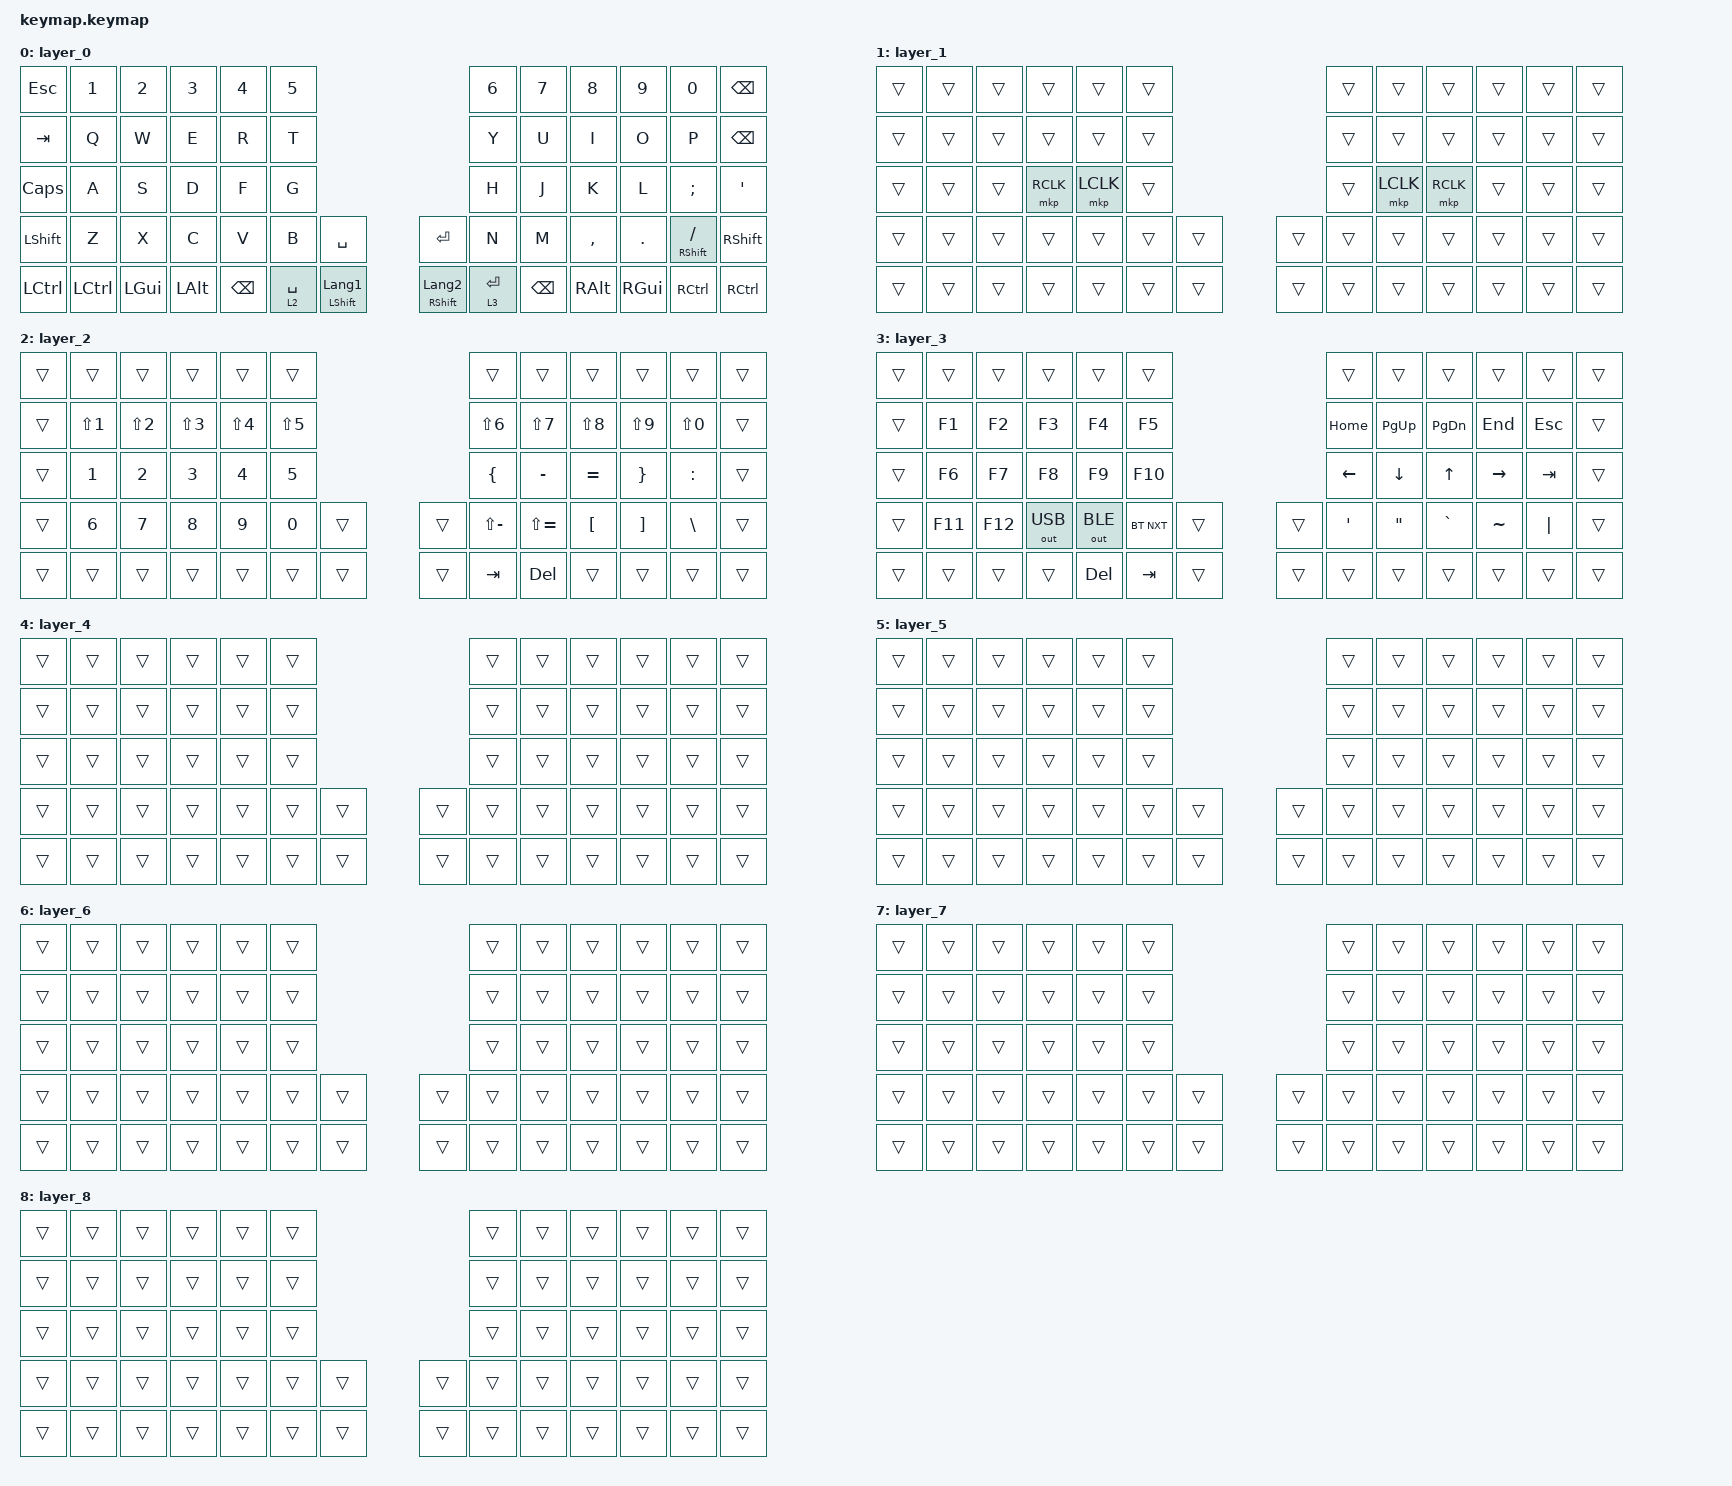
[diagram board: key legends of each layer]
#include <behaviors.dtsi>
#include <dt-bindings/zmk/bt.h>
#include <dt-bindings/zmk/keys.h>
#include <dt-bindings/zmk/outputs.h>
#include <dt-bindings/zmk/pointing.h>

/ {
    combos {
        compatible = "zmk,combos";

        bt_clear {
            bindings = <&bt BT_CLR>;
            key-positions = <28 29>;
            layers = <2>;
        };
    };

    keymap {
        compatible = "zmk,keymap";

        layer_0 {
            bindings = <
&kp ESC    &kp N1     &kp N2    &kp N3    &kp N4    &kp N5                                                         &kp N6       &kp N7    &kp N8     &kp N9    &kp N0                &kp BSPC
&kp TAB    &kp Q      &kp W     &kp E     &kp R     &kp T                                                          &kp Y        &kp U     &kp I      &kp O     &kp P                 &kp BSPC
&kp CAPS   &kp A      &kp S     &kp D     &kp F     &kp G                                                          &kp H        &kp J     &kp K      &kp L     &kp SEMI              &kp SQT
&kp LSHFT  &kp Z      &kp X     &kp C     &kp V     &kp B        &kp SPACE                  &kp RET                &kp N        &kp M     &kp COMMA  &kp DOT   &mt RIGHT_SHIFT FSLH  &kp RSHFT
&kp LCTRL  &kp LCTRL  &kp LGUI  &kp LALT  &kp BSPC  &lt 2 SPACE  &mt LEFT_SHIFT LANGUAGE_1  &mt RSHIFT LANGUAGE_2  &lt 3 ENTER  &kp BSPC  &kp RALT   &kp RGUI  &kp RCTRL             &kp RCTRL
            >;
        };

        layer_1 {
            bindings = <
&trans  &trans  &trans  &trans     &trans     &trans                  &trans  &trans     &trans     &trans  &trans  &trans
&trans  &trans  &trans  &trans     &trans     &trans                  &trans  &trans     &trans     &trans  &trans  &trans
&trans  &trans  &trans  &mkp RCLK  &mkp LCLK  &trans                  &trans  &mkp LCLK  &mkp RCLK  &trans  &trans  &trans
&trans  &trans  &trans  &trans     &trans     &trans  &trans  &trans  &trans  &trans     &trans     &trans  &trans  &trans
&trans  &trans  &trans  &trans     &trans     &trans  &trans  &trans  &trans  &trans     &trans     &trans  &trans  &trans
            >;
        };

        layer_2 {
            bindings = <
&trans  &trans            &trans            &trans      &trans      &trans                      &trans          &trans         &trans            &trans             &trans         &trans
&trans  &kp LS(NUMBER_1)  &kp LS(NUMBER_2)  &kp LS(N3)  &kp LS(N4)  &kp LS(N5)                  &kp LS(N6)      &kp LS(N7)     &kp LS(N8)        &kp LS(N9)         &kp LS(N0)     &trans
&trans  &kp N1            &kp N2            &kp N3      &kp N4      &kp N5                      &kp LEFT_BRACE  &kp MINUS      &kp EQUAL         &kp RIGHT_BRACE    &kp COLON      &trans
&trans  &kp N6            &kp N7            &kp N8      &kp N9      &kp N0      &trans  &trans  &kp LS(MINUS)   &kp LS(EQUAL)  &kp LEFT_BRACKET  &kp RIGHT_BRACKET  &kp BACKSLASH  &trans
&trans  &trans            &trans            &trans      &trans      &trans      &trans  &trans  &kp TAB         &kp DEL        &trans            &trans             &trans         &trans
            >;
        };

        layer_3 {
            bindings = <
&trans  &trans   &trans   &trans        &trans        &trans                      &trans            &trans     &trans         &trans     &trans      &trans
&trans  &kp F1   &kp F2   &kp F3        &kp F4        &kp F5                      &kp HOME          &kp PG_UP  &kp PAGE_DOWN  &kp END    &kp ESCAPE  &trans
&trans  &kp F6   &kp F7   &kp F8        &kp F9        &kp F10                     &kp LEFT          &kp DOWN   &kp UP_ARROW   &kp RIGHT  &kp TAB     &trans
&trans  &kp F11  &kp F12  &out OUT_USB  &out OUT_BLE  &bt BT_NXT  &trans  &trans  &kp SINGLE_QUOTE  &kp DQT    &kp GRAVE      &kp TILDE  &kp PIPE    &trans
&trans  &trans   &trans   &trans        &kp DELETE    &kp TAB     &trans  &trans  &trans            &trans     &trans         &trans     &trans      &trans
            >;
        };

        layer_4 {
            bindings = <
&trans  &trans  &trans  &trans  &trans  &trans                  &trans  &trans  &trans  &trans  &trans  &trans
&trans  &trans  &trans  &trans  &trans  &trans                  &trans  &trans  &trans  &trans  &trans  &trans
&trans  &trans  &trans  &trans  &trans  &trans                  &trans  &trans  &trans  &trans  &trans  &trans
&trans  &trans  &trans  &trans  &trans  &trans  &trans  &trans  &trans  &trans  &trans  &trans  &trans  &trans
&trans  &trans  &trans  &trans  &trans  &trans  &trans  &trans  &trans  &trans  &trans  &trans  &trans  &trans
            >;
        };

        layer_5 {
            bindings = <
&trans  &trans  &trans  &trans  &trans  &trans                  &trans  &trans  &trans  &trans  &trans  &trans
&trans  &trans  &trans  &trans  &trans  &trans                  &trans  &trans  &trans  &trans  &trans  &trans
&trans  &trans  &trans  &trans  &trans  &trans                  &trans  &trans  &trans  &trans  &trans  &trans
&trans  &trans  &trans  &trans  &trans  &trans  &trans  &trans  &trans  &trans  &trans  &trans  &trans  &trans
&trans  &trans  &trans  &trans  &trans  &trans  &trans  &trans  &trans  &trans  &trans  &trans  &trans  &trans
            >;
        };

        layer_6 {
            bindings = <
&trans  &trans  &trans  &trans  &trans  &trans                  &trans  &trans  &trans  &trans  &trans  &trans
&trans  &trans  &trans  &trans  &trans  &trans                  &trans  &trans  &trans  &trans  &trans  &trans
&trans  &trans  &trans  &trans  &trans  &trans                  &trans  &trans  &trans  &trans  &trans  &trans
&trans  &trans  &trans  &trans  &trans  &trans  &trans  &trans  &trans  &trans  &trans  &trans  &trans  &trans
&trans  &trans  &trans  &trans  &trans  &trans  &trans  &trans  &trans  &trans  &trans  &trans  &trans  &trans
            >;
        };

        layer_7 {
            bindings = <
&trans  &trans  &trans  &trans  &trans  &trans                  &trans  &trans  &trans  &trans  &trans  &trans
&trans  &trans  &trans  &trans  &trans  &trans                  &trans  &trans  &trans  &trans  &trans  &trans
&trans  &trans  &trans  &trans  &trans  &trans                  &trans  &trans  &trans  &trans  &trans  &trans
&trans  &trans  &trans  &trans  &trans  &trans  &trans  &trans  &trans  &trans  &trans  &trans  &trans  &trans
&trans  &trans  &trans  &trans  &trans  &trans  &trans  &trans  &trans  &trans  &trans  &trans  &trans  &trans
            >;
        };

        layer_8 {
            bindings = <
&trans  &trans  &trans  &trans  &trans  &trans                  &trans  &trans  &trans  &trans  &trans  &trans
&trans  &trans  &trans  &trans  &trans  &trans                  &trans  &trans  &trans  &trans  &trans  &trans
&trans  &trans  &trans  &trans  &trans  &trans                  &trans  &trans  &trans  &trans  &trans  &trans
&trans  &trans  &trans  &trans  &trans  &trans  &trans  &trans  &trans  &trans  &trans  &trans  &trans  &trans
&trans  &trans  &trans  &trans  &trans  &trans  &trans  &trans  &trans  &trans  &trans  &trans  &trans  &trans
            >;
        };
    };
};
